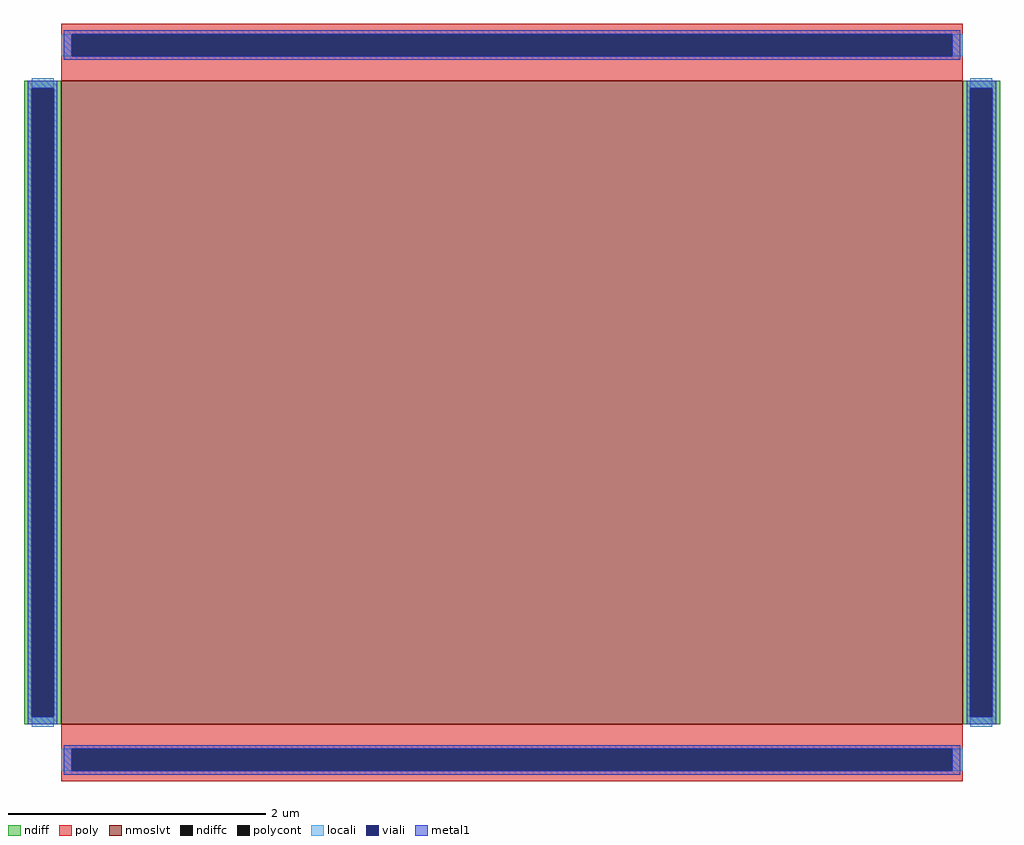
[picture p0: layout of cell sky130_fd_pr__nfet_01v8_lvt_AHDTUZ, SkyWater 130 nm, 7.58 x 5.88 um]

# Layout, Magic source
magic
tech sky130A
<< nmoslvt >>
rect -350 -250 350 250
<< ndiff >>
rect -379 244 -350 250
rect -379 -244 -373 244
rect -356 -244 -350 244
rect -379 -250 -350 -244
rect 350 244 379 250
rect 350 -244 356 244
rect 373 -244 379 244
rect 350 -250 379 -244
<< ndiffc >>
rect -373 -244 -356 244
rect 356 -244 373 244
<< poly >>
rect -350 286 350 294
rect -350 269 -342 286
rect 342 269 350 286
rect -350 250 350 269
rect -350 -269 350 -250
rect -350 -286 -342 -269
rect 342 -286 350 -269
rect -350 -294 350 -286
<< polycont >>
rect -342 269 342 286
rect -342 -286 342 -269
<< locali >>
rect -350 269 -342 286
rect 342 269 350 286
rect -373 244 -356 252
rect -373 -252 -356 -244
rect 356 244 373 252
rect 356 -252 373 -244
rect -350 -286 -342 -269
rect 342 -286 350 -269
<< viali >>
rect -342 269 342 286
rect -373 -244 -356 244
rect 356 -244 373 244
rect -342 -286 342 -269
<< metal1 >>
rect -348 286 348 289
rect -348 269 -342 286
rect 342 269 348 286
rect -348 266 348 269
rect -376 244 -353 250
rect -376 -244 -373 244
rect -356 -244 -353 244
rect -376 -250 -353 -244
rect 353 244 376 250
rect 353 -244 356 244
rect 373 -244 376 244
rect 353 -250 376 -244
rect -348 -269 348 -266
rect -348 -286 -342 -269
rect 342 -286 348 -269
rect -348 -289 348 -286
<< properties >>
string gencell sky130_fd_pr__nfet_01v8_lvt
string library sky130
string parameters w 5.0 l 7.0 m 1 nf 1 diffcov 100 polycov 100 guard 0 glc 1 grc 1 gtc 1 gbc 1 tbcov 100 rlcov 100 topc 1 botc 1 poverlap 0 doverlap 1 lmin 0.15 wmin 0.42 compatible {sky130_fd_pr__nfet_01v8 sky130_fd_pr__nfet_01v8_lvt  sky130_fd_bs_flash__special_sonosfet_star  sky130_fd_pr__nfet_g5v0d10v5 sky130_fd_pr__nfet_05v0_nvt  sky130_fd_pr__nfet_03v3_nvt} full_metal 0 viasrc 100 viadrn 100 viagate 100 viagb 0 viagr 0 viagl 0 viagt 0
<< end >>
